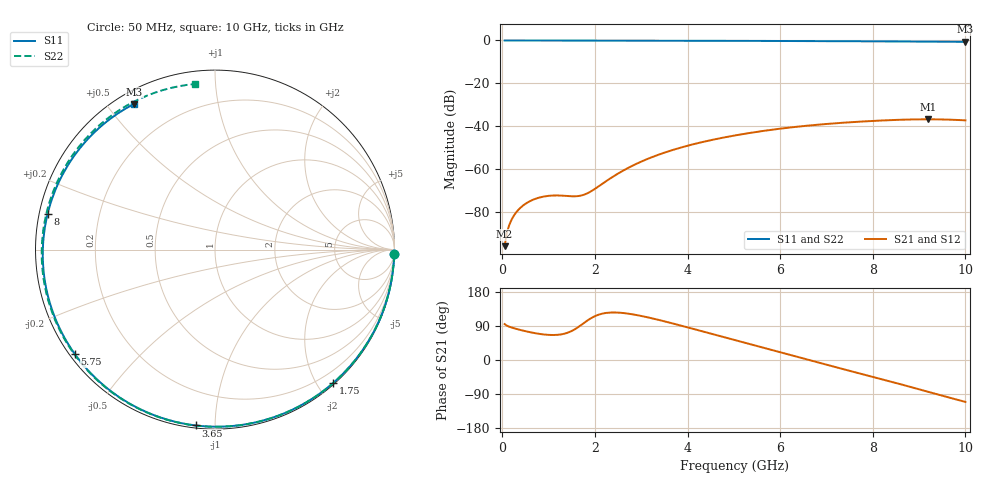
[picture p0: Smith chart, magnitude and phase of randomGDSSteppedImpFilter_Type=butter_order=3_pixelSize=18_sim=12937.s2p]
! freq	dB(S11)	phase(S11)	dB(S12)	phase(S12)
!  dB(S21)	phase(S21)	dB(S22)	phase(S22)
!S-par simulation data
#  GHz  S  DB  R 50
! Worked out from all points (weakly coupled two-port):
!   200 points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, 50 MHz to 10 GHz, reference 50 ohm
!   highest |S21| = -36.67 dB at 9.2 GHz (marker M1); lowest = -95.7 dB at 50 MHz (marker M2)
!   lowest |S11| = -0.6 dB at 10 GHz (marker M3), VSWR 26.96, Z = 2.5 + j29.4 ohm
!   |S11| at or under -10 dB: nowhere
!   |S22| runs from -0.6 to 0.0 dB; largest |S21 - S12| = 0
!   S11 on the Smith chart (normalised r, x): 50 MHz: 2, -83; 1.75 GHz: 0.02, -2.22; 3.65 GHz: 0.01, -0.90; 5.75 GHz: 0.01, -0.33; 8 GHz: 0.02, +0.11; 10 GHz: 0.05, +0.59
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0.05  -0.00 -1.4  -95.67 94.7  -95.67 94.7  -0.01 -1.6
0.3  -0.02 -8.5  -79.95 82.1  -79.95 82.1  -0.02 -9.7
0.4  -0.02 -11.3  -77.64 78.9  -77.64 78.9  -0.02 -12.9
0.55  -0.02 -15.6  -75.29 74.6  -75.29 74.6  -0.03 -17.7
0.85  -0.03 -24.0  -72.80 68.1  -72.80 68.1  -0.03 -27.3
1.15  -0.04 -32.3  -72.08 66.1  -72.08 66.1  -0.05 -36.7
1.6  -0.06 -44.6  -72.44 83.6  -72.44 83.6  -0.06 -50.5
1.75  -0.06 -48.6  -71.83 96.5  -71.83 96.5  -0.07 -55.0
1.95  -0.07 -53.9  -69.72 112.6  -69.72 112.6  -0.08 -60.9
2.55  -0.09 -69.4  -61.26 124.7  -61.26 124.7  -0.10 -78.1
2.95  -0.10 -79.4  -56.83 117.5  -56.83 117.5  -0.11 -89.1
3.4  -0.12 -90.3  -52.93 105.1  -52.93 105.1  -0.12 -101.0
3.65  -0.13 -96.3  -51.14 97.4  -51.14 97.4  -0.13 -107.4
4.3  -0.15 -111.3  -47.35 76.3  -47.35 76.3  -0.16 -123.6
5.05  -0.19 -128.0  -44.08 51.6  -44.08 51.6  -0.20 -141.5
5.75  -0.23 -143.2  -41.73 28.5  -41.73 28.5  -0.24 -157.7
6.7  -0.30 -163.6  -39.40 -2.7  -39.40 -2.7  -0.30 -179.5
7.35  -0.35 -177.7  -38.28 -23.7  -38.28 -23.7  -0.36 165.3
8  -0.41 167.9  -37.43 -44.5  -37.43 -44.5  -0.42 149.7
8.35  -0.45 159.9  -37.08 -55.7  -37.08 -55.7  -0.45 141.0
9.2  -0.55 139.5  -36.67 -84.0  -36.67 -84.0  -0.54 119.0
10  -0.64 119.0  -37.16 -110.5  -37.16 -110.5  -0.63 96.8
